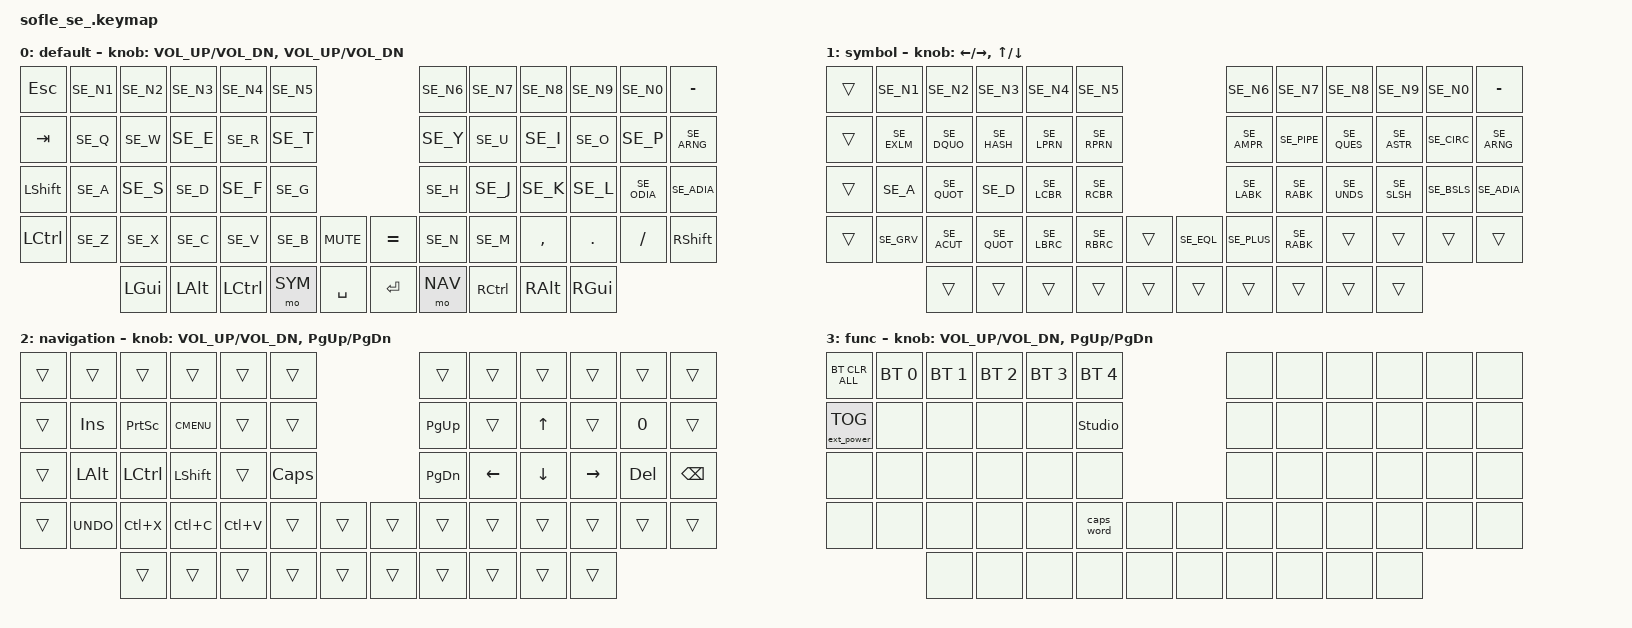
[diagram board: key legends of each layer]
/*
 * Copyright (c) 2020 The ZMK Contributors
 *
 * SPDX-License-Identifier: MIT
 */

#include <behaviors.dtsi>
#include <dt-bindings/zmk/bt.h>
#include <dt-bindings/zmk/ext_power.h>
#include <dt-bindings/zmk/keys.h>
#include "keys_se.h"

#define BASE 0
#define SYM 1
#define NAV 2
#define FUNC 3

/ {
    // Activate FUNC layer by pressing raise and lower

    conditional_layers {
        compatible = "zmk,conditional-layers";

        func_layer {
            if-layers = <SYM NAV>;
            then-layer = <FUNC>;
        };
    };

    combos {
        compatible = "zmk,combos";

        backspace {
            bindings = <&kp BACKSPACE>;
            key-positions = <32 31>;
        };

        delete {
            bindings = <&kp DELETE>;
            key-positions = <27 33>;
        };

        esc {
            bindings = <&kp ESCAPE>;
            key-positions = <25 41>;
        };
    };

    keymap {
        compatible = "zmk,keymap";

        // swap C_MUTE & EQUAL for encoder on the right


    main_layer_se {
        display-name = "default";
        bindings = <

     // ╭─────────────┬─────────────┬─────────────┬─────────────┬─────────────┬─────────────╮                                    ╭─────────────┬─────────────┬─────────────┬─────────────┬─────────────┬─────────────╮
          &kp ESC         &kp SE_N1     &kp SE_N2    &kp SE_N3     &kp SE_N4     &kp SE_N5                                          &kp SE_N6     &kp SE_N7     &kp SE_N8     &kp SE_N9    &kp SE_N0     &kp MINUS
     // ├─────────────┼─────────────┼─────────────┼─────────────┼─────────────┼─────────────┤                                    ├─────────────┼─────────────┼─────────────┼─────────────┼─────────────┼─────────────┤
          &kp TAB         &kp SE_Q      &kp SE_W     &kp SE_E      &kp SE_R      &kp SE_T                                           &kp SE_Y      &kp SE_U      &kp SE_I      &kp SE_O     &kp SE_P      &kp SE_ARNG
     // ├─────────────┼─────────────┼─────────────┼─────────────┼─────────────┼─────────────┤                                    ├─────────────┼─────────────┼─────────────┼─────────────┼─────────────┼─────────────┤
          &kp LSHFT       &kp SE_A      &kp SE_S     &kp SE_D      &kp SE_F      &kp SE_G                                           &kp SE_H      &kp SE_J      &kp SE_K      &kp SE_L     &kp SE_ODIA   &kp SE_ADIA
     // ├─────────────┼─────────────┼─────────────┼─────────────┼─────────────┼─────────────┼─────────────╮        ╭─────────────┼─────────────┼─────────────┼─────────────┼─────────────┼─────────────┼─────────────┤
          &kp LCTRL       &kp SE_Z      &kp SE_X     &kp SE_C      &kp SE_V      &kp SE_B     &kp C_MUTE             &kp EQUAL      &kp SE_N      &kp SE_M      &kp COMMA     &kp DOT      &kp FSLH      &kp RSHFT
     // ╰─────────────┼─────────────┼─────────────┼─────────────┼─────────────┼─────────────┼─────────────┤        ├─────────────┼─────────────┼─────────────┼─────────────┼─────────────┼─────────────┼─────────────┤
                                       &kp LGUI      &kp LALT      &kp LCTRL     &mo SYM    &kp SPACE               &kp ENTER        &mo NAV      &kp RCTRL      &kp RALT      &kp RGUI
     //                             ╰─────────────┴─────────────┴─────────────┴─────────────┴─────────────╯        ╰─────────────┴─────────────┴─────────────┴─────────────┴─────────────╯
            >;
            sensor-bindings = <&inc_dec_kp C_VOL_UP C_VOL_DN &inc_dec_kp C_VOL_UP C_VOL_DN>;
        };

    sym_layer_se {
        display-name = "symbol";
        bindings = <

     // ╭─────────────┬─────────────┬─────────────┬─────────────┬─────────────┬─────────────╮                                    ╭─────────────┬─────────────┬─────────────┬─────────────┬─────────────┬─────────────╮
           &trans        &kp SE_N1     &kp SE_N2    &kp SE_N3     &kp SE_N4     &kp SE_N5                                          &kp SE_N6     &kp SE_N7     &kp SE_N8     &kp SE_N9     &kp SE_N0     &kp MINUS
     // ├─────────────┼─────────────┼─────────────┼─────────────┼─────────────┼─────────────┤                                    ├─────────────┼─────────────┼─────────────┼─────────────┼─────────────┼─────────────┤
           &trans       &kp SE_EXLM   &kp SE_DQUO   &kp SE_HASH   &kp SE_LPRN   &kp SE_RPRN                                        &kp SE_AMPR   &kp SE_PIPE   &kp SE_QUES   &kp SE_ASTR   &kp SE_CIRC   &kp SE_ARNG
     // ├─────────────┼─────────────┼─────────────┼─────────────┼─────────────┼─────────────┤                                    ├─────────────┼─────────────┼─────────────┼─────────────┼─────────────┼─────────────┤
           &trans        &kp SE_A     &kp SE_QUOT   &kp SE_D      &kp SE_LCBR   &kp SE_RCBR                                        &kp SE_LABK   &kp SE_RABK   &kp SE_UNDS   &kp SE_SLSH   &kp SE_BSLS   &kp SE_ADIA
     // ├─────────────┼─────────────┼─────────────┼─────────────┼─────────────┼─────────────┼─────────────╮        ╭─────────────┼─────────────┼─────────────┼─────────────┼─────────────┼─────────────┼─────────────┤
           &trans       &kp SE_GRV    &kp SE_ACUT   &kp SE_QUOT   &kp SE_LBRC   &kp SE_RBRC    &trans                &kp SE_EQL    &kp SE_PLUS   &kp SE_RABK     &trans        &trans        &trans        &trans
     // ╰─────────────┼─────────────┼─────────────┼─────────────┼─────────────┼─────────────┼─────────────┤        ├─────────────┼─────────────┼─────────────┼─────────────┼─────────────┼─────────────┼─────────────┤
                                       &trans       &trans        &trans        &trans         &trans                 &trans       &trans        &trans        &trans        &trans
     //                             ╰─────────────┴─────────────┴─────────────┴─────────────┴─────────────╯        ╰─────────────┴─────────────┴─────────────┴─────────────┴─────────────╯
            >;

            sensor-bindings =
                <&inc_dec_kp LEFT_ARROW RIGHT_ARROW>,
                <&inc_dec_kp UP_ARROW DOWN_ARROW>;
        };


       
        raise_layer {
            display-name = "navigation";

            // ------------------------------------------------------------------------------------------------------------
            // | BTCLR | BT1  | BT2  |  BT3  |  BT4  |  BT5 |                |      |      |       |      |       |       |
            // |       | INS  | PSCR | GUI   |       |      |                | PGUP |      |   ^   |      |       |       |
            // |       | ALT  | CTRL | SHIFT |       | CAPS |                | PGDN |   <- |   v   |  ->  |  DEL  | BKSPC |
            // |       | UNDO | CUT  | COPY  | PASTE |      |      |  |      |      |      |       |      |       |       |
            //                |      |       |       |      |      |  |      |      |      |       |      |

            bindings = <
&trans  &trans      &trans     &trans       &trans       &trans                      &trans     &trans    &trans    &trans     &trans   &trans
&trans  &kp INS     &kp PSCRN  &kp K_CMENU  &trans       &trans                      &kp PG_UP  &trans    &kp UP    &trans     &kp N0   &trans
&trans  &kp LALT    &kp LCTRL  &kp LSHFT    &trans       &kp CLCK                    &kp PG_DN  &kp LEFT  &kp DOWN  &kp RIGHT  &kp DEL  &kp BSPC
&trans  &kp K_UNDO  &kp LC(X)  &kp LC(C)    &kp LC(V)    &trans    &trans    &trans  &trans     &trans    &trans    &trans     &trans   &trans
                    &trans     &trans       &trans       &trans    &trans    &trans  &trans     &trans    &trans    &trans
            >;

            sensor-bindings = <&inc_dec_kp C_VOL_UP C_VOL_DN &inc_dec_kp PG_UP PG_DN>;
        };

        func_layer {
            display-name = "func";
            // ----------------------------------------------------------------------------------------------------------------------------
            // | BTCLR  |  BT1    |  BT2    |   BT3   |   BT4   |   BT5   |                  |      |      |       |      |       |       |
            // | EXTPWR | RGB_HUD | RGB_HUI | RGB_SAD | RGB_SAI | RGB_EFF |                  |      |      |       |      |       |       |
            // |        | RGB_BRD | RGB_BRI |         |         |         |                  |      |      |       |      |       |       |
            // |        |         |         |         |         |         | RGB_TOG | |      |      |      |       |      |       |       |
            //                    |         |         |         |         |         | |      |      |      |       |      |
            bindings = <
&bt BT_CLR_ALL     &bt BT_SEL 0  &bt BT_SEL 1  &bt BT_SEL 2  &bt BT_SEL 3  &bt BT_SEL 4                    &none  &none  &none  &none  &none  &none
&ext_power EP_TOG  &none         &none         &none         &none         &studio_unlock                  &none  &none  &none  &none  &none  &none
&none              &none         &none         &none         &none         &none                           &none  &none  &none  &none  &none  &none
&none              &none         &none         &none         &none         &caps_word      &none    &none  &none  &none  &none  &none  &none  &none
                                 &none         &none         &none         &none           &none    &none  &none  &none  &none  &none
            >;

            sensor-bindings = <&inc_dec_kp C_VOL_UP C_VOL_DN &inc_dec_kp PG_UP PG_DN>;
        };
    };
};
